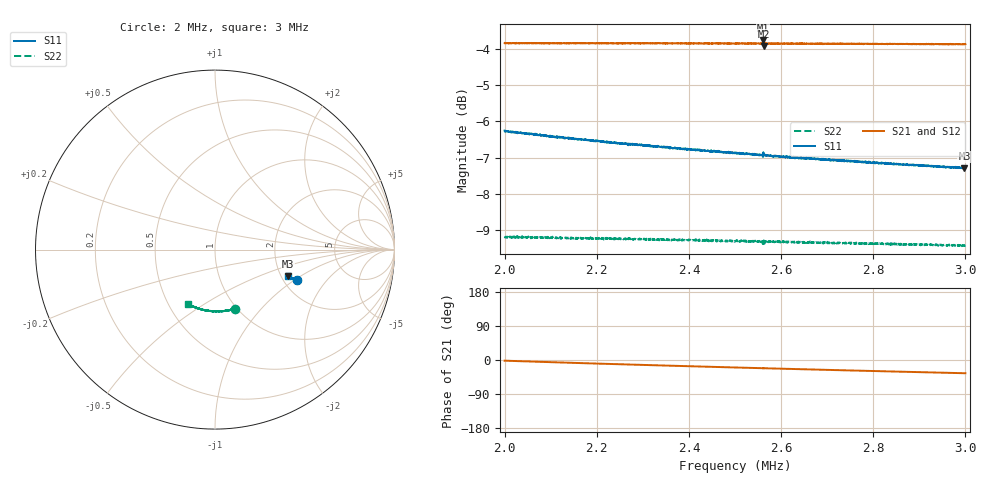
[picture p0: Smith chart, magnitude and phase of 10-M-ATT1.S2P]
!Keysight Technologies,E5063A,MY54504603,A.05.08
!Date: Wed Nov 25 12:45:31 2026
!Data & Calibration Information:
!Freq	S11:NONE(--)	S21:NONE(--)	S12:NONE(--)	S22:NONE(--)
# Hz S dB R 50
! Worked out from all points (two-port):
!   2001 points, 2 MHz to 3 MHz, reference 50 ohm
!   highest |S21| = -3.77 dB at 2.562 MHz (marker M1); lowest = -3.9 dB at 2.562 MHz (marker M2)
!   |S21| within 3 dB of the highest: start of sweep to end of sweep
!   lowest |S11| = -7.3 dB at 2.998 MHz (marker M3), VSWR 2.52, Z = 108 - j39.5 ohm
!   |S11| at or under -10 dB: nowhere
!   |S22| runs from -9.4 to -9.2 dB; largest |S21 - S12| = 0.0091
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2000000  -6.25 -20.2  -3.85 -1.8  -3.86 -2.0  -9.18 -71.5
2005500  -6.27 -20.3  -3.85 -2.1  -3.84 -2.2  -9.20 -71.7
2039500  -6.32 -20.4  -3.85 -3.3  -3.85 -3.5  -9.19 -73.4
2086000  -6.39 -20.3  -3.86 -5.1  -3.86 -5.3  -9.21 -75.5
2098000  -6.43 -20.3  -3.85 -5.6  -3.85 -5.8  -9.22 -76.2
2167000  -6.49 -20.4  -3.84 -8.2  -3.85 -8.4  -9.21 -79.2
2242000  -6.59 -20.3  -3.85 -10.9  -3.85 -11.1  -9.22 -82.9
2272500  -6.64 -20.2  -3.86 -12.0  -3.85 -12.1  -9.22 -84.3
2333500  -6.69 -20.3  -3.85 -14.1  -3.86 -14.3  -9.25 -87.0
2412500  -6.78 -20.3  -3.85 -16.8  -3.86 -17.0  -9.27 -90.8
2500000  -6.86 -20.4  -3.86 -19.7  -3.87 -19.8  -9.29 -94.7
2545500  -6.93 -20.3  -3.86 -21.2  -3.87 -21.3  -9.30 -96.7
2561500  -6.85 -20.3  -3.77 -21.7  -3.84 -22.4  -9.30 -97.3
2562500  -6.94 -20.3  -3.92 -21.8  -3.90 -21.6  -9.28 -97.9
2572000  -6.94 -20.3  -3.86 -22.0  -3.87 -22.2  -9.33 -97.9
2599000  -6.96 -20.2  -3.86 -22.9  -3.86 -23.1  -9.29 -99.0
2667000  -7.02 -20.2  -3.87 -25.0  -3.87 -25.2  -9.33 -102.0
2747500  -7.09 -20.2  -3.86 -27.5  -3.88 -27.6  -9.34 -105.5
2833500  -7.16 -20.2  -3.87 -30.1  -3.88 -30.2  -9.39 -109.5
2917000  -7.23 -20.1  -3.88 -32.5  -3.89 -32.7  -9.40 -113.1
2998000  -7.29 -20.1  -3.88 -34.9  -3.90 -35.0  -9.42 -116.7
3000000  -7.28 -20.1  -3.88 -34.9  -3.90 -35.1  -9.42 -116.8
